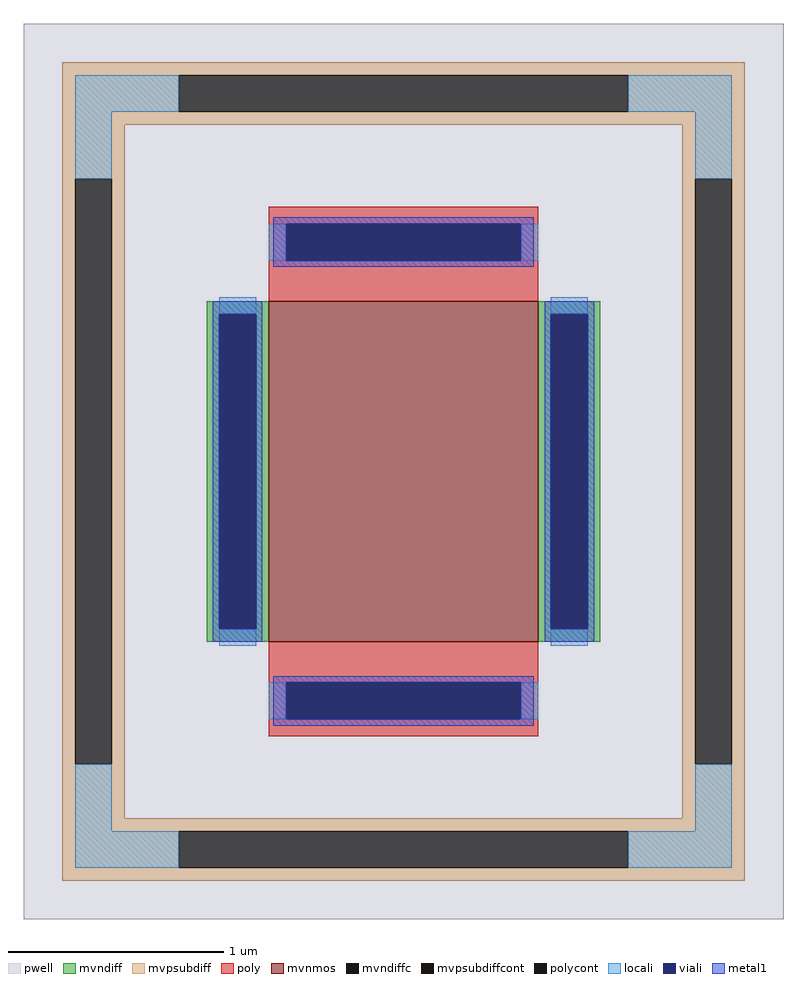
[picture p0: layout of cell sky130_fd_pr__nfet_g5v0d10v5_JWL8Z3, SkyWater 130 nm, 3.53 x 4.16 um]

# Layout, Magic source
magic
tech sky130A
magscale 1 2
<< pwell >>
rect -353 -416 353 416
<< mvnmos >>
rect -125 -158 125 158
<< mvndiff >>
rect -183 146 -125 158
rect -183 -146 -171 146
rect -137 -146 -125 146
rect -183 -158 -125 -146
rect 125 146 183 158
rect 125 -146 137 146
rect 171 -146 183 146
rect 125 -158 183 -146
<< mvndiffc >>
rect -171 -146 -137 146
rect 137 -146 171 146
<< mvpsubdiff >>
rect -317 368 317 380
rect -317 334 -209 368
rect 209 334 317 368
rect -317 322 317 334
rect -317 272 -259 322
rect -317 -272 -305 272
rect -271 -272 -259 272
rect 259 272 317 322
rect -317 -322 -259 -272
rect 259 -272 271 272
rect 305 -272 317 272
rect 259 -322 317 -272
rect -317 -334 317 -322
rect -317 -368 -209 -334
rect 209 -368 317 -334
rect -317 -380 317 -368
<< mvpsubdiffcont >>
rect -209 334 209 368
rect -305 -272 -271 272
rect 271 -272 305 272
rect -209 -368 209 -334
<< poly >>
rect -125 230 125 246
rect -125 196 -109 230
rect 109 196 125 230
rect -125 158 125 196
rect -125 -196 125 -158
rect -125 -230 -109 -196
rect 109 -230 125 -196
rect -125 -246 125 -230
<< polycont >>
rect -109 196 109 230
rect -109 -230 109 -196
<< locali >>
rect -305 334 -209 368
rect 209 334 305 368
rect -305 272 -271 334
rect 271 272 305 334
rect -125 196 -109 230
rect 109 196 125 230
rect -171 146 -137 162
rect -171 -162 -137 -146
rect 137 146 171 162
rect 137 -162 171 -146
rect -125 -230 -109 -196
rect 109 -230 125 -196
rect -305 -334 -271 -272
rect 271 -334 305 -272
rect -305 -368 -209 -334
rect 209 -368 305 -334
<< viali >>
rect -109 196 109 230
rect -171 -146 -137 146
rect 137 -146 171 146
rect -109 -230 109 -196
<< metal1 >>
rect -121 230 121 236
rect -121 196 -109 230
rect 109 196 121 230
rect -121 190 121 196
rect -177 146 -131 158
rect -177 -146 -171 146
rect -137 -146 -131 146
rect -177 -158 -131 -146
rect 131 146 177 158
rect 131 -146 137 146
rect 171 -146 177 146
rect 131 -158 177 -146
rect -121 -196 121 -190
rect -121 -230 -109 -196
rect 109 -230 121 -196
rect -121 -236 121 -230
<< properties >>
string FIXED_BBOX -288 -351 288 351
string gencell sky130_fd_pr__nfet_g5v0d10v5
string library sky130
string parameters w 1.58 l 1.25 m 1 nf 1 diffcov 100 polycov 100 guard 1 glc 1 grc 1 gtc 1 gbc 1 tbcov 100 rlcov 100 topc 1 botc 1 poverlap 0 doverlap 1 lmin 0.50 wmin 0.42 class mosfet compatible {sky130_fd_pr__nfet_01v8 sky130_fd_pr__nfet_01v8_lvt  sky130_fd_bs_flash__special_sonosfet_star  sky130_fd_pr__nfet_g5v0d10v5 sky130_fd_pr__nfet_05v0_nvt  sky130_fd_pr__nfet_03v3_nvt} full_metal 1 viasrc 100 viadrn 100 viagate 100 viagb 0 viagr 0 viagl 0 viagt 0
<< end >>
